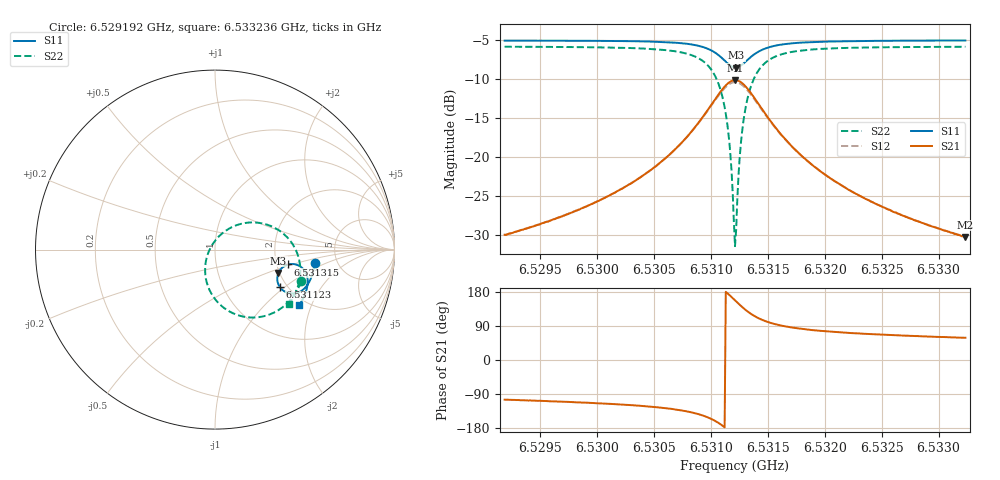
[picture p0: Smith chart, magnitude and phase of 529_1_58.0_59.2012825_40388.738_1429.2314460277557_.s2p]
#  HZ  S  RI  R  50.00
! Rohde & Schwarz Vector Network Analyzer
! Rohde-Schwarz,ZNB20-2Port,1311601062101988,3.16
! Created: UTC 3/21/2024, 1:14:00 AM
! freq[Hz]  re:S11  im:S11  re:S21  im:S21  re:S12  im:S12  re:S22  im:S22
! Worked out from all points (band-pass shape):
!   401 points, 6.529192 GHz to 6.533236 GHz, reference 50 ohm
!   highest |S21| = -10.09 dB at 6.531214 GHz (marker M1); lowest = -30.2 dB at 6.533236 GHz (marker M2)
!   |S21| within 3 dB of the highest: 6.531013 GHz to 6.531417 GHz (403.6 kHz wide, 0.00618 % of centre)
!   lowest |S11| = -8.5 dB at 6.531224 GHz (marker M3), VSWR 2.21, Z = 98.7 - j29.8 ohm
!   |S11| at or under -10 dB: nowhere
!   |S22| runs from -31.4 to -5.8 dB; largest |S21 - S12| = 0.012
!   S11 on the Smith chart (normalised r, x): 6.529192 GHz: 3.39, -0.72; 6.531123 GHz: 1.83, -0.93; 6.531315 GHz: 2.31, -0.46; 6.533236 GHz: 1.82, -1.64
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6.5291916e9  0.556 -0.0728  -0.00804 -0.0308  -0.00862 -0.0305  0.481 -0.1774
6.5298689e9  0.5447 -0.1291  -0.0177 -0.0436  -0.0188 -0.0431  0.4493 -0.2401
6.5305463e9  0.5149 -0.1968  -0.0525 -0.0743  -0.0545 -0.073  0.3662 -0.3289
6.5307788e9  0.487 -0.226  -0.0931 -0.0935  -0.0958 -0.0903  0.2844 -0.3681
6.5309507e9  0.4424 -0.2444  -0.1623 -0.0991  -0.1646 -0.0926  0.1569 -0.3732
6.5310518e9  0.3969 -0.2381  -0.2326 -0.0714  -0.2316 -0.0619  0.0384 -0.3155
6.5311226e9  0.3618 -0.2094  -0.284 -0.0113  -0.2779 -0.00149  -0.0386 -0.2062
6.531163e9  0.3489 -0.1805  -0.2999 0.0425  -0.2904 0.0506  -0.0552 -0.1142
6.5312035e9  0.3484 -0.1465  -0.2943 0.1043  -0.2831 0.1085  -0.0362 -0.0142
6.5312136e9  0.3506 -0.138  -0.2891 0.1193  -0.2777 0.1225  -0.0251 0.00956
6.5312237e9  0.3536 -0.1295  -0.2824 0.1337  -0.2711 0.136  -0.0118 0.0321
6.5312338e9  0.3575 -0.1216  -0.2743 0.1475  -0.2632 0.1488  0.00366 0.0533
6.5312641e9  0.3736 -0.1016  -0.2435 0.1821  -0.2334 0.1809  0.0596 0.1051
6.5312843e9  0.387 -0.0918  -0.2192 0.1989  -0.2104 0.1966  0.102 0.1288
6.5313147e9  0.408 -0.0828  -0.1813 0.2144  -0.1745 0.211  0.1669 0.1481
6.5313854e9  0.4521 -0.0834  -0.1042 0.2155  -0.1009 0.2121  0.2962 0.1371
6.5314865e9  0.4903 -0.1067  -0.0382 0.1829  -0.0369 0.181  0.403 0.0681
6.5316382e9  0.5118 -0.1436  0.000842 0.1349  0.00213 0.134  0.4611 -0.0292
6.5318909e9  0.5162 -0.1876  0.0172 0.0877  0.0182 0.0874  0.4754 -0.1278
6.5321942e9  0.5095 -0.2238  0.0196 0.0597  0.0206 0.0595  0.4652 -0.1937
6.5325683e9  0.4971 -0.2582  0.0187 0.0421  0.0195 0.0417  0.4468 -0.2445
6.5332356e9  0.4706 -0.3082  0.016 0.0263  0.0165 0.0261  0.4123 -0.3041
